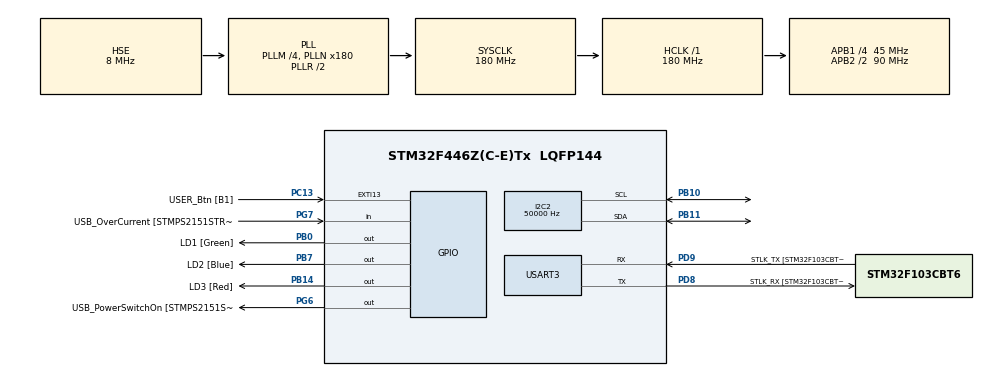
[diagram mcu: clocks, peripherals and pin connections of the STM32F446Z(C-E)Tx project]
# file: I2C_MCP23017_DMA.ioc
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Dma.I2C2_RX.0.Direction=DMA_PERIPH_TO_MEMORY
Dma.I2C2_RX.0.FIFOMode=DMA_FIFOMODE_DISABLE
Dma.I2C2_RX.0.Instance=DMA1_Stream2
Dma.I2C2_RX.0.MemDataAlignment=DMA_MDATAALIGN_BYTE
Dma.I2C2_RX.0.MemInc=DMA_MINC_ENABLE
Dma.I2C2_RX.0.Mode=DMA_NORMAL
Dma.I2C2_RX.0.PeriphDataAlignment=DMA_PDATAALIGN_BYTE
Dma.I2C2_RX.0.PeriphInc=DMA_PINC_DISABLE
Dma.I2C2_RX.0.Priority=DMA_PRIORITY_MEDIUM
Dma.I2C2_TX.1.Direction=DMA_MEMORY_TO_PERIPH
Dma.I2C2_TX.1.FIFOMode=DMA_FIFOMODE_DISABLE
Dma.I2C2_TX.1.Instance=DMA1_Stream7
Dma.I2C2_TX.1.MemDataAlignment=DMA_MDATAALIGN_BYTE
Dma.I2C2_TX.1.MemInc=DMA_MINC_ENABLE
Dma.I2C2_TX.1.Mode=DMA_NORMAL
Dma.I2C2_TX.1.PeriphDataAlignment=DMA_PDATAALIGN_BYTE
Dma.I2C2_TX.1.PeriphInc=DMA_PINC_DISABLE
Dma.I2C2_TX.1.Priority=DMA_PRIORITY_MEDIUM
Dma.Request0=I2C2_RX
Dma.Request1=I2C2_TX
I2C2.ClockSpeed=50000
Mcu.Family=STM32F4
Mcu.Name=STM32F446Z(C-E)Tx
Mcu.Package=LQFP144
NVIC.DMA1_Stream2_IRQn=true\:0\:0\:false\:false\:true\:false\:true\:true
NVIC.DMA1_Stream7_IRQn=true\:0\:0\:false\:false\:true\:false\:true\:true
NVIC.I2C2_ER_IRQn=true\:0\:0\:false\:false\:true\:true\:true\:true
NVIC.I2C2_EV_IRQn=true\:0\:0\:false\:false\:true\:true\:true\:true
NVIC.PriorityGroup=NVIC_PRIORITYGROUP_4
PA10.GPIO_Label=USB_ID
PA10.Signal=USB_OTG_FS_ID
PA11.GPIO_Label=USB_DM
PA11.Signal=USB_OTG_FS_DM
PA12.GPIO_Label=USB_DP
PA12.Signal=USB_OTG_FS_DP
PA13.GPIO_Label=TMS
PA13.Mode=Serial_Wire
PA13.Signal=SYS_JTMS-SWDIO
PA14.GPIO_Label=TCK
PA14.Mode=Serial_Wire
PA14.Signal=SYS_JTCK-SWCLK
PA8.GPIO_Label=USB_SOF [TP1]
PA8.Signal=USB_OTG_FS_SOF
PA9.GPIO_Label=USB_VBUS
PA9.Signal=USB_OTG_FS_VBUS
PB0.GPIO_Label=LD1 [Green]
PB0.Signal=GPIO_Output
PB10.GPIO_Pu=GPIO_PULLUP
PB10.Mode=I2C
PB10.Signal=I2C2_SCL
PB11.GPIO_Pu=GPIO_PULLUP
PB11.Mode=I2C
PB11.Signal=I2C2_SDA
PB14.GPIO_Label=LD3 [Red]
PB14.Signal=GPIO_Output
PB7.GPIO_Label=LD2 [Blue]
PB7.Signal=GPIO_Output
PC13.GPIO_Label=USER_Btn [B1]
PC13.Signal=GPXTI13
PC14-OSC32_IN.Signal=RCC_OSC32_IN
PC15-OSC32_OUT.Signal=RCC_OSC32_OUT
PD8.GPIO_Label=STLK_RX [STM32F103CBT6_PA3]
PD8.Mode=Asynchronous
PD8.Signal=USART3_TX
PD9.GPIO_Label=STLK_TX [STM32F103CBT6_PA2]
PD9.Mode=Asynchronous
PD9.Signal=USART3_RX
PG6.GPIO_Label=USB_PowerSwitchOn [STMPS2151STR_EN]
PG6.Signal=GPIO_Output
PG7.GPIO_Label=USB_OverCurrent [STMPS2151STR_FAULT]
PG7.Signal=GPIO_Input
PH0-OSC_IN.GPIO_Label=MCO [STM32F103CBT6_PA8]
PH0-OSC_IN.Mode=HSE-External-Oscillator
PH0-OSC_IN.Signal=RCC_OSC_IN
PH1-OSC_OUT.Mode=HSE-External-Oscillator
PH1-OSC_OUT.Signal=RCC_OSC_OUT
ProjectManager.HeapSize=0x200
ProjectManager.StackSize=0x400
ProjectManager.TargetToolchain=MDK-ARM V5.32
RCC.48MHZClocksFreq_Value=24000000
RCC.AHBFreq_Value=180000000
RCC.APB1CLKDivider=RCC_HCLK_DIV4
RCC.APB1Freq_Value=45000000
RCC.APB1TimFreq_Value=90000000
RCC.APB2CLKDivider=RCC_HCLK_DIV2
RCC.APB2Freq_Value=90000000
RCC.APB2TimFreq_Value=180000000
RCC.CortexFreq_Value=180000000
RCC.HCLKFreq_Value=180000000
RCC.HSE_VALUE=8000000
RCC.HSI_VALUE=16000000
RCC.PLLM=4
RCC.PLLMUL=RCC_PLL_MUL9
RCC.PLLN=180
RCC.PLLQ=7
RCC.PLLSourceVirtual=RCC_PLLSOURCE_HSE
RCC.PRESCALERUSB=RCC_USBCLKSOURCE_PLL_DIV1_5
RCC.SYSCLKFreq_VALUE=180000000
RCC.SYSCLKSource=RCC_SYSCLKSOURCE_PLLRCLK
RCC.SYSCLKSourceVirtual=RCC_SYSCLKSOURCE_PLLCLK
RCC.USBFreq_Value=51428571.428571425
RCC.VCOOutputFreq_Value=360000000
USART3.VirtualMode=VM_ASYNC
board=NUCLEO-F446ZE

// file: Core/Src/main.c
/* USER CODE BEGIN Header */
/**
  ******************************************************************************
  * @file           : main.c
  * @brief          : Main program body
  ******************************************************************************
  * @attention
  *
  * Copyright (c) 2025 STMicroelectronics.
  * All rights reserved.
  *
  * This software is licensed under terms that can be found in the LICENSE file
  * in the root directory of this software component.
  * If no LICENSE file comes with this software, it is provided AS-IS.
  *
  ******************************************************************************
  */
/* USER CODE END Header */
#include "main.h"

/* USER CODE BEGIN Includes */
#include <stdio.h>
#include <string.h>
/* USER CODE END Includes */

/* USER CODE BEGIN PTD */

/* MCP23017 Register Tanimlari */
#define MCP_IODIRA    0x00    // Port A yön register'i
#define MCP_IODIRB    0x01    // Port B yön register'i
#define MCP_GPIOA     0x12    // Port A GPIO register'i
#define MCP_GPIOB     0x13    // Port B GPIO register'i

/* MCP23017 Adresi */
#define MCP_ADDR      0x20    // A0=A1=A2=GND durumu
/* USER CODE END PTD */

/* USER CODE BEGIN PM */

/* DMA durum degiskenleri */
char msg[50];
volatile uint8_t i2cTxComplete = 0;
volatile uint8_t i2cRxComplete = 0;

/* I2C veri transfer buffer'lari */
uint8_t txBuffer[2] = {0};
/* USER CODE END PM */

I2C_HandleTypeDef hi2c2;
DMA_HandleTypeDef hdma_i2c2_rx;
DMA_HandleTypeDef hdma_i2c2_tx;

UART_HandleTypeDef huart3;

void SystemClock_Config(void);
static void MX_GPIO_Init(void);
static void MX_DMA_Init(void);
static void MX_I2C2_Init(void);
static void MX_USART3_UART_Init(void);
/* USER CODE BEGIN PFP */
HAL_StatusTypeDef MCP23017_WriteRegister_DMA(uint8_t reg, uint8_t value);
void WaitForI2CTxCompletion(uint32_t timeout);
void MCP23017_Test(void);
void I2C_SoftwareReset(void);
/* USER CODE END PFP */

int main(void)
{

  /* MCU Configuration--------------------------------------------------------*/

  /* Reset of all peripherals, Initializes the Flash interface and the Systick. */
  HAL_Init();

  /* Configure the system clock */
  SystemClock_Config();

  /* Initialize all configured peripherals */
  MX_GPIO_Init();
  MX_DMA_Init();
  MX_I2C2_Init();
  MX_USART3_UART_Init();
  /* USER CODE BEGIN 2 */
  /* LED'leri sifirla */
  HAL_GPIO_WritePin(GPIOB, LD1_Pin|LD2_Pin|LD3_Pin, GPIO_PIN_RESET);

  /* Baslangiç mesaji */
  sprintf(msg, "MCP23017 DMA testi basladi\r\n");
  HAL_UART_Transmit(&huart3, (uint8_t*)msg, strlen(msg), 100);

  /* I2C hattini yazilimsal olarak resetle */
  I2C_SoftwareReset();

  /* MCP23017 baslat - Port A ve B'yi çikis olarak yapilandir */
  HAL_StatusTypeDef status;

  status = MCP23017_WriteRegister_DMA(MCP_IODIRA, 0x00);
  WaitForI2CTxCompletion(100);

  if (status != HAL_OK) {
    sprintf(msg, "MCP23017 Port A yapilandirma hatasi!\r\n");
    HAL_UART_Transmit(&huart3, (uint8_t*)msg, strlen(msg), 100);
    HAL_GPIO_WritePin(GPIOB, LD3_Pin, GPIO_PIN_SET); // Kirmizi LED
    Error_Handler();
  }

  status = MCP23017_WriteRegister_DMA(MCP_IODIRB, 0x00);
  WaitForI2CTxCompletion(100);

  if (status != HAL_OK) {
    sprintf(msg, "MCP23017 Port B yapilandirma hatasi!\r\n");
    HAL_UART_Transmit(&huart3, (uint8_t*)msg, strlen(msg), 100);
    HAL_GPIO_WritePin(GPIOB, LD3_Pin, GPIO_PIN_SET); // Kirmizi LED
    Error_Handler();
  }

  sprintf(msg, "MCP23017 basari ile yapilandirildi\r\n");
  HAL_UART_Transmit(&huart3, (uint8_t*)msg, strlen(msg), 100);
  /* USER CODE END 2 */

  /* Infinite loop */
  /* USER CODE BEGIN WHILE */
  while (1)
  {
    /* MCP23017 pin testi */
    MCP23017_Test();
    /* USER CODE END WHILE */

  }
}

void SystemClock_Config(void)
{
  RCC_OscInitTypeDef RCC_OscInitStruct = {0};
  RCC_ClkInitTypeDef RCC_ClkInitStruct = {0};

  /** Configure the main internal regulator output voltage
  */
  __HAL_RCC_PWR_CLK_ENABLE();
  __HAL_PWR_VOLTAGESCALING_CONFIG(PWR_REGULATOR_VOLTAGE_SCALE1);

  /** Initializes the RCC Oscillators according to the specified parameters
  * in the RCC_OscInitTypeDef structure.
  */
  RCC_OscInitStruct.OscillatorType = RCC_OSCILLATORTYPE_HSE;
  RCC_OscInitStruct.HSEState = RCC_HSE_ON;
  RCC_OscInitStruct.PLL.PLLState = RCC_PLL_ON;
  RCC_OscInitStruct.PLL.PLLSource = RCC_PLLSOURCE_HSE;
  RCC_OscInitStruct.PLL.PLLM = 4;
  RCC_OscInitStruct.PLL.PLLN = 180;
  RCC_OscInitStruct.PLL.PLLP = RCC_PLLP_DIV2;
  RCC_OscInitStruct.PLL.PLLQ = 7;
  RCC_OscInitStruct.PLL.PLLR = 2;
  if (HAL_RCC_OscConfig(&RCC_OscInitStruct) != HAL_OK)
  {
    Error_Handler();
  }

  /** Activate the Over-Drive mode
  */
  if (HAL_PWREx_EnableOverDrive() != HAL_OK)
  {
    Error_Handler();
  }

  /** Initializes the CPU, AHB and APB buses clocks
  */
  RCC_ClkInitStruct.ClockType = RCC_CLOCKTYPE_HCLK|RCC_CLOCKTYPE_SYSCLK
                              |RCC_CLOCKTYPE_PCLK1|RCC_CLOCKTYPE_PCLK2;
  RCC_ClkInitStruct.SYSCLKSource = RCC_SYSCLKSOURCE_PLLRCLK;
  RCC_ClkInitStruct.AHBCLKDivider = RCC_SYSCLK_DIV1;
  RCC_ClkInitStruct.APB1CLKDivider = RCC_HCLK_DIV4;
  RCC_ClkInitStruct.APB2CLKDivider = RCC_HCLK_DIV2;

  if (HAL_RCC_ClockConfig(&RCC_ClkInitStruct, FLASH_LATENCY_5) != HAL_OK)
  {
    Error_Handler();
  }
}

static void MX_I2C2_Init(void)
{

  hi2c2.Instance = I2C2;
  hi2c2.Init.ClockSpeed = 50000;
  hi2c2.Init.DutyCycle = I2C_DUTYCYCLE_2;
  hi2c2.Init.OwnAddress1 = 0;
  hi2c2.Init.AddressingMode = I2C_ADDRESSINGMODE_7BIT;
  hi2c2.Init.DualAddressMode = I2C_DUALADDRESS_DISABLE;
  hi2c2.Init.OwnAddress2 = 0;
  hi2c2.Init.GeneralCallMode = I2C_GENERALCALL_DISABLE;
  hi2c2.Init.NoStretchMode = I2C_NOSTRETCH_DISABLE;
  if (HAL_I2C_Init(&hi2c2) != HAL_OK)
  {
    Error_Handler();
  }

}

static void MX_USART3_UART_Init(void)
{

  huart3.Instance = USART3;
  huart3.Init.BaudRate = 115200;
  huart3.Init.WordLength = UART_WORDLENGTH_8B;
  huart3.Init.StopBits = UART_STOPBITS_1;
  huart3.Init.Parity = UART_PARITY_NONE;
  huart3.Init.Mode = UART_MODE_TX_RX;
  huart3.Init.HwFlowCtl = UART_HWCONTROL_NONE;
  huart3.Init.OverSampling = UART_OVERSAMPLING_16;
  if (HAL_UART_Init(&huart3) != HAL_OK)
  {
    Error_Handler();
  }

}

static void MX_DMA_Init(void)
{

  /* DMA controller clock enable */
  __HAL_RCC_DMA1_CLK_ENABLE();

  /* DMA interrupt init */
  /* DMA1_Stream2_IRQn interrupt configuration */
  HAL_NVIC_SetPriority(DMA1_Stream2_IRQn, 0, 0);
  HAL_NVIC_EnableIRQ(DMA1_Stream2_IRQn);
  /* DMA1_Stream7_IRQn interrupt configuration */
  HAL_NVIC_SetPriority(DMA1_Stream7_IRQn, 0, 0);
  HAL_NVIC_EnableIRQ(DMA1_Stream7_IRQn);

}

static void MX_GPIO_Init(void)
{
  GPIO_InitTypeDef GPIO_InitStruct = {0};

  /* GPIO Ports Clock Enable */
  __HAL_RCC_GPIOC_CLK_ENABLE();
  __HAL_RCC_GPIOH_CLK_ENABLE();
  __HAL_RCC_GPIOB_CLK_ENABLE();
  __HAL_RCC_GPIOD_CLK_ENABLE();
  __HAL_RCC_GPIOG_CLK_ENABLE();
  __HAL_RCC_GPIOA_CLK_ENABLE();

  /*Configure GPIO pin Output Level */
  HAL_GPIO_WritePin(GPIOB, LD1_Pin|LD3_Pin|LD2_Pin, GPIO_PIN_RESET);

  /*Configure GPIO pin Output Level */
  HAL_GPIO_WritePin(USB_PowerSwitchOn_GPIO_Port, USB_PowerSwitchOn_Pin, GPIO_PIN_RESET);

  /*Configure GPIO pin : USER_Btn_Pin */
  GPIO_InitStruct.Pin = USER_Btn_Pin;
  GPIO_InitStruct.Mode = GPIO_MODE_IT_RISING;
  GPIO_InitStruct.Pull = GPIO_NOPULL;
  HAL_GPIO_Init(USER_Btn_GPIO_Port, &GPIO_InitStruct);

  /*Configure GPIO pins : LD1_Pin LD3_Pin LD2_Pin */
  GPIO_InitStruct.Pin = LD1_Pin|LD3_Pin|LD2_Pin;
  GPIO_InitStruct.Mode = GPIO_MODE_OUTPUT_PP;
  GPIO_InitStruct.Pull = GPIO_NOPULL;
  GPIO_InitStruct.Speed = GPIO_SPEED_FREQ_LOW;
  HAL_GPIO_Init(GPIOB, &GPIO_InitStruct);

  /*Configure GPIO pin : USB_PowerSwitchOn_Pin */
  GPIO_InitStruct.Pin = USB_PowerSwitchOn_Pin;
  GPIO_InitStruct.Mode = GPIO_MODE_OUTPUT_PP;
  GPIO_InitStruct.Pull = GPIO_NOPULL;
  GPIO_InitStruct.Speed = GPIO_SPEED_FREQ_LOW;
  HAL_GPIO_Init(USB_PowerSwitchOn_GPIO_Port, &GPIO_InitStruct);

  /*Configure GPIO pin : USB_OverCurrent_Pin */
  GPIO_InitStruct.Pin = USB_OverCurrent_Pin;
  GPIO_InitStruct.Mode = GPIO_MODE_INPUT;
  GPIO_InitStruct.Pull = GPIO_NOPULL;
  HAL_GPIO_Init(USB_OverCurrent_GPIO_Port, &GPIO_InitStruct);

  /*Configure GPIO pins : USB_SOF_Pin USB_ID_Pin USB_DM_Pin USB_DP_Pin */
  GPIO_InitStruct.Pin = USB_SOF_Pin|USB_ID_Pin|USB_DM_Pin|USB_DP_Pin;
  GPIO_InitStruct.Mode = GPIO_MODE_AF_PP;
  GPIO_InitStruct.Pull = GPIO_NOPULL;
  GPIO_InitStruct.Speed = GPIO_SPEED_FREQ_VERY_HIGH;
  GPIO_InitStruct.Alternate = GPIO_AF10_OTG_FS;
  HAL_GPIO_Init(GPIOA, &GPIO_InitStruct);

  /*Configure GPIO pin : USB_VBUS_Pin */
  GPIO_InitStruct.Pin = USB_VBUS_Pin;
  GPIO_InitStruct.Mode = GPIO_MODE_INPUT;
  GPIO_InitStruct.Pull = GPIO_NOPULL;
  HAL_GPIO_Init(USB_VBUS_GPIO_Port, &GPIO_InitStruct);

}

/* USER CODE BEGIN 4 */

/**
  * @brief  DMA ile MCP23017 register yazma
  * @param  reg: Register adresi
  * @param  value: Yazilacak deger
  * @retval HAL durum kodu
  */
HAL_StatusTypeDef MCP23017_WriteRegister_DMA(uint8_t reg, uint8_t value)
{
  txBuffer[0] = reg;
  txBuffer[1] = value;

  i2cTxComplete = 0; // Transfer tamamlandi bayragini sifirla

  return HAL_I2C_Master_Transmit_DMA(&hi2c2, (MCP_ADDR << 1), txBuffer, 2);
}

/**
  * @brief  I2C TX DMA transferinin tamamlanmasini bekle
  * @param  timeout: Bekleme zaman asimi (ms)
  */
void WaitForI2CTxCompletion(uint32_t timeout)
{
  uint32_t tickstart = HAL_GetTick();

  /* Transfer tamamlanana kadar veya timeout olana kadar bekle */
  while (!i2cTxComplete)
  {
    if ((HAL_GetTick() - tickstart) > timeout)
    {
      /* Zaman asimi olustu */
      sprintf(msg, "I2C DMA TX zaman asimi!\r\n");
      HAL_UART_Transmit(&huart3, (uint8_t*)msg, strlen(msg), 100);
      return;
    }
  }
}

/**
  * @brief  MCP23017 pin testi
  */
void MCP23017_Test(void)
{
  /* T�m pinleri kapat */
  MCP23017_WriteRegister_DMA(MCP_GPIOA, 0x00);
  WaitForI2CTxCompletion(100);
  MCP23017_WriteRegister_DMA(MCP_GPIOB, 0x00);
  WaitForI2CTxCompletion(100);
  HAL_Delay(500);

  /* Port A tek tek test */
  sprintf(msg, "Port A pinleri test ediliyor...\r\n");
  HAL_UART_Transmit(&huart3, (uint8_t*)msg, strlen(msg), 100);

  for (uint8_t i = 0; i < 8; i++)
  {
    sprintf(msg, "Port A, Pin %d\r\n", i);
    HAL_UART_Transmit(&huart3, (uint8_t*)msg, strlen(msg), 100);

    /* Sadece bir pini a� */
    MCP23017_WriteRegister_DMA(MCP_GPIOA, (1 << i));
    WaitForI2CTxCompletion(100);

    /* Yesil LED ile g�ster */
    HAL_GPIO_WritePin(GPIOB, LD1_Pin, GPIO_PIN_SET);
    HAL_Delay(300);
    HAL_GPIO_WritePin(GPIOB, LD1_Pin, GPIO_PIN_RESET);

    /* Pini kapat */
    MCP23017_WriteRegister_DMA(MCP_GPIOA, 0x00);
    WaitForI2CTxCompletion(100);
    HAL_Delay(200);
  }

  /* Port B tek tek test */
  sprintf(msg, "Port B pinleri test ediliyor...\r\n");
  HAL_UART_Transmit(&huart3, (uint8_t*)msg, strlen(msg), 100);

  for (uint8_t i = 0; i < 8; i++)
  {
    sprintf(msg, "Port B, Pin %d\r\n", i);
    HAL_UART_Transmit(&huart3, (uint8_t*)msg, strlen(msg), 100);

    /* Sadece bir pini a� */
    MCP23017_WriteRegister_DMA(MCP_GPIOB, (1 << i));
    WaitForI2CTxCompletion(100);

    /* Mavi LED ile g�ster */
    HAL_GPIO_WritePin(GPIOB, LD2_Pin, GPIO_PIN_SET);
    HAL_Delay(300);
    HAL_GPIO_WritePin(GPIOB, LD2_Pin, GPIO_PIN_RESET);

    /* Pini kapat */
    MCP23017_WriteRegister_DMA(MCP_GPIOB, 0x00);
    WaitForI2CTxCompletion(100);
    HAL_Delay(200);
  }

  /* �apraz pin testi (A'dan B'ye) */
  sprintf(msg, "Capraz pin testi (A->B)...\r\n");
  HAL_UART_Transmit(&huart3, (uint8_t*)msg, strlen(msg), 100);

  for (uint8_t i = 0; i < 8; i++)
  {
    /* A portu pini a� */
    MCP23017_WriteRegister_DMA(MCP_GPIOA, (1 << i));
    WaitForI2CTxCompletion(100);

    /* B portu zit pini a� */
    MCP23017_WriteRegister_DMA(MCP_GPIOB, (1 << (7 - i)));
    WaitForI2CTxCompletion(100);

    /* LED'lerle g�ster */
    HAL_GPIO_WritePin(GPIOB, LD1_Pin, GPIO_PIN_SET);
    HAL_GPIO_WritePin(GPIOB, LD2_Pin, GPIO_PIN_SET);

    sprintf(msg, "A%d ve B%d acik\r\n", i, 7-i);
    HAL_UART_Transmit(&huart3, (uint8_t*)msg, strlen(msg), 100);

    HAL_Delay(400);

    /* Pinleri kapat */
    MCP23017_WriteRegister_DMA(MCP_GPIOA, 0x00);
    WaitForI2CTxCompletion(100);
    MCP23017_WriteRegister_DMA(MCP_GPIOB, 0x00);
    WaitForI2CTxCompletion(100);

    /* LED'leri kapat */
    HAL_GPIO_WritePin(GPIOB, LD1_Pin, GPIO_PIN_RESET);
    HAL_GPIO_WritePin(GPIOB, LD2_Pin, GPIO_PIN_RESET);

    HAL_Delay(200);
  }

  /* Test tamamlandi */
  sprintf(msg, "Test tamamlandi\r\n");
  HAL_UART_Transmit(&huart3, (uint8_t*)msg, strlen(msg), 100);
  HAL_Delay(1000);
}

/**
  * @brief  I2C hattini yazilimsal olarak sifirlar
  */
void I2C_SoftwareReset(void)
{
  GPIO_InitTypeDef GPIO_InitStruct = {0};

  /* I2C2 periferini devre disi birak */
  HAL_I2C_DeInit(&hi2c2);

  /* I2C pinlerini �ikis olarak yapilandir */
  GPIO_InitStruct.Pin = GPIO_PIN_10|GPIO_PIN_11;  // PB10=SCL, PB11=SDA
  GPIO_InitStruct.Mode = GPIO_MODE_OUTPUT_OD;
  GPIO_InitStruct.Pull = GPIO_PULLUP;
  GPIO_InitStruct.Speed = GPIO_SPEED_FREQ_HIGH;
  HAL_GPIO_Init(GPIOB, &GPIO_InitStruct);

  /* I2C hattini temizle */
  for (int i = 0; i < 10; i++) {
    HAL_GPIO_WritePin(GPIOB, GPIO_PIN_10, GPIO_PIN_SET);
    HAL_Delay(5);
    HAL_GPIO_WritePin(GPIOB, GPIO_PIN_10, GPIO_PIN_RESET);
    HAL_Delay(5);
  }

  /* STOP kosulu olustur */
  HAL_GPIO_WritePin(GPIOB, GPIO_PIN_11, GPIO_PIN_RESET);
  HAL_Delay(5);
  HAL_GPIO_WritePin(GPIOB, GPIO_PIN_10, GPIO_PIN_SET);
  HAL_Delay(5);
  HAL_GPIO_WritePin(GPIOB, GPIO_PIN_11, GPIO_PIN_SET);
  HAL_Delay(5);

  /* I2C2 periferini yeniden baslat */
  MX_I2C2_Init();

  sprintf(msg, "I2C hatti sifirlandi\r\n");
  HAL_UART_Transmit(&huart3, (uint8_t*)msg, strlen(msg), 100);
}

/**
  * @brief  I2C Tx tamamlandi callback
  */
void HAL_I2C_MasterTxCpltCallback(I2C_HandleTypeDef *hi2c)
{
  if (hi2c->Instance == I2C2) {
    i2cTxComplete = 1;
  }
}

/**
  * @brief  I2C Rx tamamlandi callback
  */
void HAL_I2C_MasterRxCpltCallback(I2C_HandleTypeDef *hi2c)
{
  if (hi2c->Instance == I2C2) {
    i2cRxComplete = 1;
  }
}

/**
  * @brief  I2C hata callback
  */
void HAL_I2C_ErrorCallback(I2C_HandleTypeDef *hi2c)
{
  if (hi2c->Instance == I2C2) {
    sprintf(msg, "I2C hata: %lu\r\n", hi2c->ErrorCode);
    HAL_UART_Transmit(&huart3, (uint8_t*)msg, strlen(msg), 100);
    HAL_GPIO_WritePin(GPIOB, LD3_Pin, GPIO_PIN_SET); // Kirmizi LED
  }
}

/* USER CODE END 4 */

void Error_Handler(void)
{
  __disable_irq();
  while (1)
  {
  }
}
